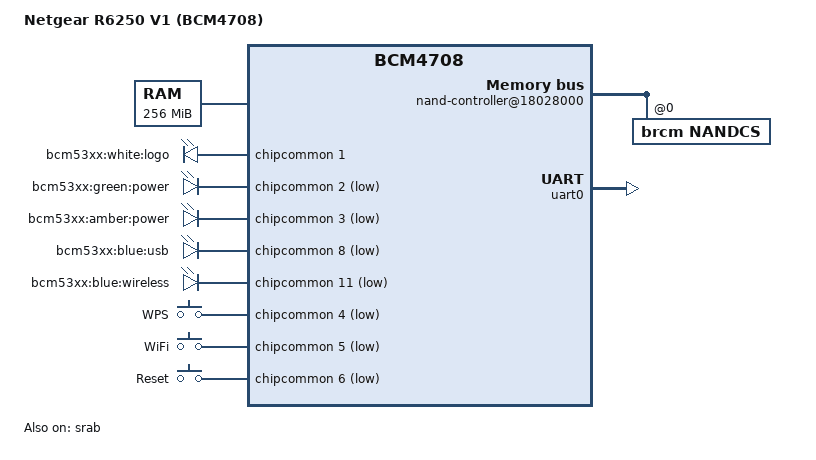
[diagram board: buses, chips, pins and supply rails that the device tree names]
/*
 * Broadcom BCM470X / BCM5301X arm platform code.
 * DTS for Netgear R6250 V1
 *
 * Copyright 2013 Hauke Mehrtens <hauke@hauke-m.de>
 *
 * Licensed under the GNU/GPL. See COPYING for details.
 */
/dts-v1/;
#include "bcm4708.dtsi"
/ {
	compatible = "netgear,r6250v1", "brcm,bcm4708";
	model = "Netgear R6250 V1 (BCM4708)";
	memory {
		reg = <0x00000000 0x08000000
		       0x88000000 0x08000000>;
	};
	nvram@1eff0000 {
		compatible = "brcm,nvram";
		reg = <0x1eff0000 0x10000>;

		et0macaddr: et0macaddr {
			#nvmem-cell-cells = <1>;
		};
	};
	leds {
		compatible = "gpio-leds";
		logo {
			label = "bcm53xx:white:logo";
			gpios = <&chipcommon 1 GPIO_ACTIVE_HIGH>;
			linux,default-trigger = "default-on";
		};
		power0 {
			label = "bcm53xx:green:power";
			gpios = <&chipcommon 2 GPIO_ACTIVE_LOW>;
			linux,default-trigger = "default-on";
		};
		power1 {
			label = "bcm53xx:amber:power";
			gpios = <&chipcommon 3 GPIO_ACTIVE_LOW>;
		};
		usb {
			label = "bcm53xx:blue:usb";
			gpios = <&chipcommon 8 GPIO_ACTIVE_LOW>;
			trigger-sources = <&ohci_port1>, <&ehci_port1>,
					  <&xhci_port1>;
			linux,default-trigger = "usbport";
		};
		wireless {
			label = "bcm53xx:blue:wireless";
			gpios = <&chipcommon 11 GPIO_ACTIVE_LOW>;
		};
	};
	gpio-keys {
		compatible = "gpio-keys";
		#address-cells = <1>;
		#size-cells = <0>;
		wps {
			label = "WPS";
			linux,code = <KEY_WPS_BUTTON>;
			gpios = <&chipcommon 4 GPIO_ACTIVE_LOW>;
		};
		rfkill {
			label = "WiFi";
			linux,code = <KEY_RFKILL>;
			gpios = <&chipcommon 5 GPIO_ACTIVE_LOW>;
		};
		restart {
			label = "Reset";
			linux,code = <KEY_RESTART>;
			gpios = <&chipcommon 6 GPIO_ACTIVE_LOW>;
		};
	};
	aliases {
			serial0 = &uart0;
		};

	chosen {
		stdout-path = "serial0:115200n8";
	};

	nand-controller@18028000 {
		nandcs: nand@0 {
			compatible = "brcm,nandcs";
			reg = <0>;
			#address-cells = <1>;
			#size-cells = <1>;

			/*
			 * Same as using the bcm5301x-nand-cs0-bch1.dtsi
			 * include from the Linux kernel.
			 */
			nand-ecc-algo = "bch";
			nand-ecc-strength = <1>;
			nand-ecc-step-size = <512>;

			partitions {
				compatible = "brcm,bcm947xx-cfe-partitions";
			};
		};
	};
};

&uart0 {
	clock-frequency = <100000000>;
	status = "okay";
};
&srab {
	status = "okay";

	ports {
		port@0 {
			label = "lan4";
		};

		port@1 {
			label = "lan3";
		};

		port@2 {
			label = "lan2";
		};

		port@3 {
			label = "lan1";
		};

		port@4 {
			label = "wan";
			nvmem-cells = <&et0macaddr 5>;
			nvmem-cell-names = "mac-address";
		};

		port@5 {
			label = "cpu";
		};
	};
};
